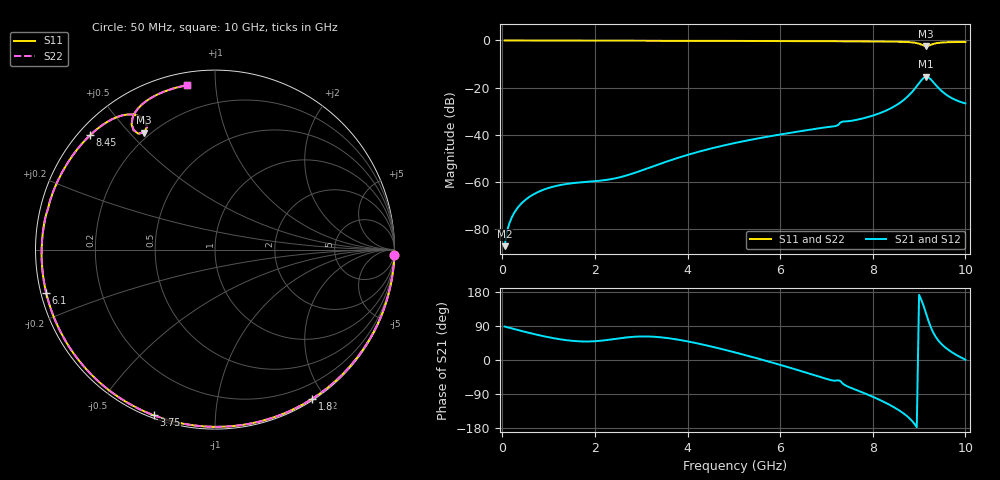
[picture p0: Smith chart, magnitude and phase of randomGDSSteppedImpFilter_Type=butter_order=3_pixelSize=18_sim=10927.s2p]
! freq	dB(S11)	phase(S11)	dB(S12)	phase(S12)
!  dB(S21)	phase(S21)	dB(S22)	phase(S22)
!S-par simulation data
#  GHz  S  DB  R 50
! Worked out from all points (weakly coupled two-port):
!   200 points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, 50 MHz to 10 GHz, reference 50 ohm
!   highest |S21| = -15.41 dB at 9.15 GHz (marker M1); lowest = -87.2 dB at 50 MHz (marker M2)
!   lowest |S11| = -2.4 dB at 9.15 GHz (marker M3), VSWR 7.41, Z = 8.85 + j27.5 ohm
!   |S11| at or under -10 dB: nowhere
!   |S22| runs from -2.4 to 0.0 dB; largest |S21 - S12| = 0
!   S11 on the Smith chart (normalised r, x): 50 MHz: 0, -70; 1.8 GHz: 0.02, -1.85; 3.75 GHz: 0.01, -0.70; 6.1 GHz: 0.02, -0.13; 8.45 GHz: 0.03, +0.39; 10 GHz: 0.06, +0.84
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0.05  -0.00 -1.6  -87.19 88.4  -87.19 88.4  -0.00 -1.6
0.1  -0.00 -3.3  -81.18 86.7  -81.18 86.7  -0.00 -3.3
0.35  -0.01 -11.4  -70.46 78.6  -70.46 78.6  -0.01 -11.4
0.65  -0.03 -21.1  -65.49 69.5  -65.49 69.5  -0.03 -21.1
1.1  -0.04 -35.4  -61.95 57.7  -61.95 57.7  -0.04 -35.4
1.75  -0.07 -55.4  -60.04 48.9  -60.04 48.9  -0.07 -55.4
1.8  -0.07 -56.9  -59.96 48.8  -59.96 48.8  -0.07 -56.9
2.5  -0.09 -77.2  -58.16 56.8  -58.16 56.8  -0.09 -77.2
3.4  -0.12 -101.4  -52.35 60.2  -52.35 60.2  -0.12 -101.5
3.75  -0.14 -110.4  -50.03 54.6  -50.03 54.6  -0.14 -110.4
5.05  -0.19 -141.6  -43.35 19.2  -43.35 19.2  -0.19 -141.7
6.1  -0.26 -165.7  -39.53 -16.4  -39.53 -16.4  -0.26 -165.7
6.7  -0.30 -179.4  -37.64 -38.5  -37.64 -38.5  -0.30 -179.4
7.2  -0.34 168.9  -36.28 -54.6  -36.28 -54.6  -0.34 168.9
7.35  -0.37 165.5  -34.36 -62.0  -34.36 -62.0  -0.37 165.5
8.35  -0.48 140.3  -29.15 -117.4  -29.15 -117.4  -0.48 140.2
8.45  -0.51 137.5  -28.11 -124.1  -28.11 -124.1  -0.50 137.4
8.9  -0.95 122.9  -20.64 -168.4  -20.64 -168.4  -0.95 122.9
9.15  -2.36 121.1  -15.41 123.1  -15.41 123.1  -2.35 121.1
9.4  -1.08 120.4  -19.74 53.9  -19.74 53.9  -1.08 120.3
9.65  -0.72 111.3  -23.81 25.2  -23.81 25.2  -0.72 111.2
10  -0.64 99.6  -26.68 0.9  -26.68 0.9  -0.64 99.6
